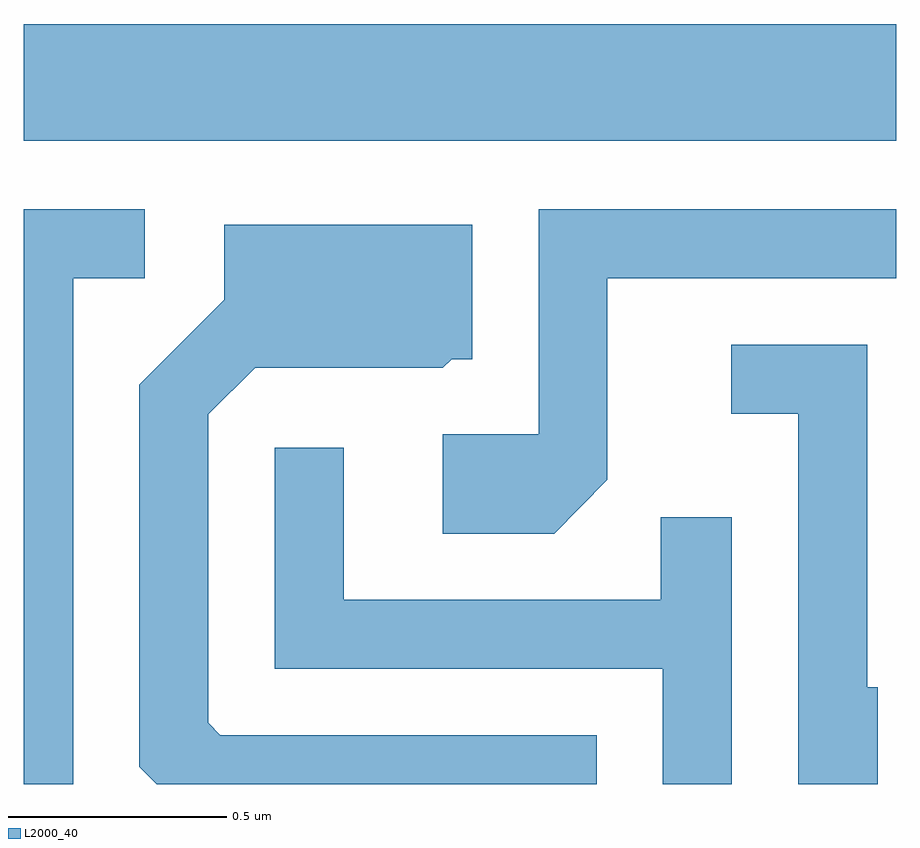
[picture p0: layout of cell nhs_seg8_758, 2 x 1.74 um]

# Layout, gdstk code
import gdstk
lib = gdstk.Library(unit=1e-6, precision=1e-09)
def R(c, l, rs):  # rectangles x0, y0, x1, y1
    for r in rs: c.add(gdstk.rectangle(r[:2], r[2:], *l))
def P(c, l, *ps):  # polygons
    for p in ps: c.add(gdstk.Polygon(p, *l))
L2000_40 = (2000, 40)

nhs_seg8_758 = lib.new_cell('nhs_seg8_758')
R(nhs_seg8_758, L2000_40, [(190.611,1880.816,192.611,1881.084)])
P(nhs_seg8_758, L2000_40, [(191.949,1880.039),(191.949,1880.501),(192.611,1880.501),(192.611,1880.659),(191.791,1880.659),(191.791,1880.144),(191.571,1880.144),(191.571,1879.916),(191.827,1879.916)],
  [(190.724,1880.501),(190.888,1880.501),(190.888,1880.659),(190.611,1880.659),(190.611,1879.342),(190.724,1879.342)],
  [(191.924,1879.454),(191.062,1879.454),(191.034,1879.482),(191.034,1880.189),(191.142,1880.296),(191.572,1880.296),(191.592,1880.316),(191.639,1880.316),(191.639,1880.624),(191.071,1880.624),(191.071,1880.452),(190.876,1880.257),(190.876,1879.382),(190.916,1879.342),(191.924,1879.342)],
  [(192.569,1879.564),(192.544,1879.564),(192.544,1880.349),(192.233,1880.349),(192.233,1880.191),(192.386,1880.191),(192.386,1879.342),(192.569,1879.342)],
  [(192.234,1879.953),(192.071,1879.953),(192.071,1879.764),(191.344,1879.764),(191.344,1880.113),(191.186,1880.113),(191.186,1879.606),(192.076,1879.606),(192.076,1879.342),(192.234,1879.342)])

lib.write_gds('nhs_seg8_758.gds')
